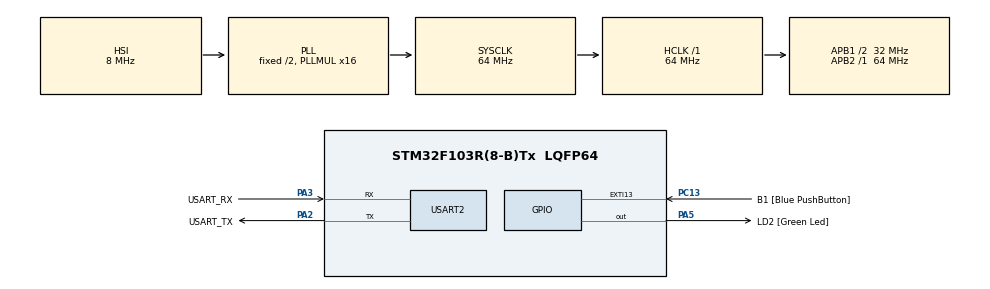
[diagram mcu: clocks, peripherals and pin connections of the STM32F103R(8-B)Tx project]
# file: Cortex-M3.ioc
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Mcu.Family=STM32F1
Mcu.Name=STM32F103R(8-B)Tx
Mcu.Package=LQFP64
NVIC.EXTI15_10_IRQn=true\:0\:0\:false\:false\:true\:true
NVIC.PriorityGroup=NVIC_PRIORITYGROUP_4
NVIC.TIM2_IRQn=true\:0\:0\:false\:false\:true\:true
PA13.GPIO_Label=TMS
PA13.Mode=Serial_Wire
PA13.Signal=SYS_JTMS-SWDIO
PA14.GPIO_Label=TCK
PA14.Mode=Serial_Wire
PA14.Signal=SYS_JTCK-SWCLK
PA2.GPIO_Label=USART_TX
PA2.GPIO_Mode=GPIO_MODE_AF_PP
PA2.GPIO_PuPd=GPIO_NOPULL
PA2.GPIO_Speed=GPIO_SPEED_FREQ_LOW
PA2.Mode=Asynchronous
PA2.Signal=USART2_TX
PA3.GPIO_Label=USART_RX
PA3.GPIO_Mode=GPIO_MODE_AF_PP
PA3.GPIO_PuPd=GPIO_NOPULL
PA3.GPIO_Speed=GPIO_SPEED_FREQ_LOW
PA3.Mode=Asynchronous
PA3.Signal=USART2_RX
PA5.GPIO_Label=LD2 [Green Led]
PA5.GPIO_ModeDefaultOutputPP=GPIO_MODE_OUTPUT_PP
PA5.GPIO_PuPd=GPIO_NOPULL
PA5.GPIO_Speed=GPIO_SPEED_FREQ_LOW
PA5.Signal=GPIO_Output
PB3.GPIO_Label=SWO
PB3.Signal=SYS_JTDO-TRACESWO
PC13-TAMPER-RTC.GPIO_Label=B1 [Blue PushButton]
PC13-TAMPER-RTC.GPIO_PuPd=GPIO_NOPULL
PC13-TAMPER-RTC.Signal=GPXTI13
PC14-OSC32_IN.Mode=LSE-External-Oscillator
PC14-OSC32_IN.Signal=RCC_OSC32_IN
PC15-OSC32_OUT.Mode=LSE-External-Oscillator
PC15-OSC32_OUT.Signal=RCC_OSC32_OUT
PD0-OSC_IN.Mode=HSE-External-Clock-Source
PD0-OSC_IN.Signal=RCC_OSC_IN
PD1-OSC_OUT.Mode=HSE-External-Clock-Source
PD1-OSC_OUT.Signal=RCC_OSC_OUT
ProjectManager.HeapSize=0x200
ProjectManager.StackSize=0x400
ProjectManager.TargetToolchain=TrueSTUDIO
RCC.AHBFreq_Value=64000000
RCC.APB1CLKDivider=RCC_HCLK_DIV2
RCC.APB1Freq_Value=32000000
RCC.APB1TimFreq_Value=64000000
RCC.APB2Freq_Value=64000000
RCC.APB2TimFreq_Value=64000000
RCC.HCLKFreq_Value=64000000
RCC.PLLMUL=RCC_PLL_MUL16
RCC.RTCClockSelection=RCC_RTCCLKSOURCE_LSE
RCC.SYSCLKFreq_VALUE=64000000
RCC.SYSCLKSource=RCC_SYSCLKSOURCE_PLLCLK
RCC.USBFreq_Value=64000000
USART2.VirtualMode=VM_ASYNC
VP_TIM2_VS_ClockSourceINT.Mode=Internal
board=NUCLEO-F103RB

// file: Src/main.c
/**
  ******************************************************************************
  * @file           : main.c
  * @brief          : Main program body
  ******************************************************************************
  ** This notice applies to any and all portions of this file
  * that are not between comment pairs USER CODE BEGIN and
  * USER CODE END. Other portions of this file, whether
  * inserted by the user or by software development tools
  * are owned by their respective copyright owners.
  *
  * COPYRIGHT(c) 2018 STMicroelectronics
  *
  * Redistribution and use in source and binary forms, with or without modification,
  * are permitted provided that the following conditions are met:
  *   1. Redistributions of source code must retain the above copyright notice,
  *      this list of conditions and the following disclaimer.
  *   2. Redistributions in binary form must reproduce the above copyright notice,
  *      this list of conditions and the following disclaimer in the documentation
  *      and/or other materials provided with the distribution.
  *   3. Neither the name of STMicroelectronics nor the names of its contributors
  *      may be used to endorse or promote products derived from this software
  *      without specific prior written permission.
  *
  * THIS SOFTWARE IS PROVIDED BY THE COPYRIGHT HOLDERS AND CONTRIBUTORS "AS IS"
  * AND ANY EXPRESS OR IMPLIED WARRANTIES, INCLUDING, BUT NOT LIMITED TO, THE
  * IMPLIED WARRANTIES OF MERCHANTABILITY AND FITNESS FOR A PARTICULAR PURPOSE ARE
  * DISCLAIMED. IN NO EVENT SHALL THE COPYRIGHT HOLDER OR CONTRIBUTORS BE LIABLE
  * FOR ANY DIRECT, INDIRECT, INCIDENTAL, SPECIAL, EXEMPLARY, OR CONSEQUENTIAL
  * DAMAGES (INCLUDING, BUT NOT LIMITED TO, PROCUREMENT OF SUBSTITUTE GOODS OR
  * SERVICES; LOSS OF USE, DATA, OR PROFITS; OR BUSINESS INTERRUPTION) HOWEVER
  * CAUSED AND ON ANY THEORY OF LIABILITY, WHETHER IN CONTRACT, STRICT LIABILITY,
  * OR TORT (INCLUDING NEGLIGENCE OR OTHERWISE) ARISING IN ANY WAY OUT OF THE USE
  * OF THIS SOFTWARE, EVEN IF ADVISED OF THE POSSIBILITY OF SUCH DAMAGE.
  *
  ******************************************************************************
  */
#include "main.h"
#include "stm32f1xx_hal.h"
#include "tim.h"
#include "usart.h"
#include "gpio.h"

/* USER CODE BEGIN Includes */
#include "arm_math.h"
#include "arm_const_structs.h"

#include <stdarg.h>
#include <string.h>

//#define milvintequatro
#define trintaedois
//#define quinhentosedoze

/* USER CODE END Includes */

/* USER CODE BEGIN PV */
/* Private variables ---------------------------------------------------------*/
int FFT_result; //Amount of FFTs processed on 1s
int FFT_old;
/* USER CODE END PV */

void SystemClock_Config(void);

/* USER CODE BEGIN PFP */
/* Private function prototypes -----------------------------------------------*/

/* USER CODE END PFP */

/* USER CODE BEGIN 0 */
#ifdef milvintequatro
float32_t testInput_f32_10khz[2048] =
{
-0.865129623056441, 	0.000000000000000, 	-2.655020678073846, 	0.000000000000000, 	0.600664612949661, 	0.000000000000000, 	0.080378093886515, 	0.000000000000000,
-2.899160484012034, 	0.000000000000000, 	2.563004262857762, 	0.000000000000000, 	3.078328403304206, 	0.000000000000000, 	0.105906778385130, 	0.000000000000000,
0.048366940168201, 	0.000000000000000, 	-0.145696461188734, 	0.000000000000000, 	-0.023417155362879, 	0.000000000000000, 	2.127729174988954, 	0.000000000000000,
-1.176633086028377, 	0.000000000000000, 	3.690223557991855, 	0.000000000000000, 	-0.622791766173194, 	0.000000000000000, 	0.722837373872203, 	0.000000000000000,
2.739754205367484, 	0.000000000000000, 	-0.062610410524552, 	0.000000000000000, 	-0.891296810967338, 	0.000000000000000, 	-1.845872258871811, 	0.000000000000000,
1.195039415434387, 	0.000000000000000, 	-2.177388969045026, 	0.000000000000000, 	1.078649103637905, 	0.000000000000000, 	2.570976050490193, 	0.000000000000000,
-1.383551403404574, 	0.000000000000000, 	2.392141424058873, 	0.000000000000000, 	2.858002843205065, 	0.000000000000000, 	-3.682433899725536, 	0.000000000000000,
-3.488146646451150, 	0.000000000000000, 	1.323468578888120, 	0.000000000000000, 	-0.099771155430726, 	0.000000000000000, 	1.561168082500454, 	0.000000000000000,
1.025026795103179, 	0.000000000000000, 	0.928841900171200, 	0.000000000000000, 	2.930499509864950, 	0.000000000000000, 	2.013349089766430, 	0.000000000000000,
2.381676148486737, 	0.000000000000000, 	-3.081062307950236, 	0.000000000000000, 	-0.389579115537544, 	0.000000000000000, 	0.181540149166620, 	0.000000000000000,
-2.601953341353208, 	0.000000000000000, 	0.333435137783218, 	0.000000000000000, 	-2.812945856162965, 	0.000000000000000, 	2.649109640172910, 	0.000000000000000,
-1.003963025744654, 	0.000000000000000, 	1.552460768755035, 	0.000000000000000, 	0.088641345335247, 	0.000000000000000, 	-2.519951327113426, 	0.000000000000000,
-4.341348988610527, 	0.000000000000000, 	0.557772429359965, 	0.000000000000000, 	-1.671267412948494, 	0.000000000000000, 	0.733951350960387, 	0.000000000000000,
0.409263788034864, 	0.000000000000000, 	3.566033071952806, 	0.000000000000000, 	1.882565173848352, 	0.000000000000000, 	-1.106017073793287, 	0.000000000000000,
0.154456720778718, 	0.000000000000000, 	-2.513205795512153, 	0.000000000000000, 	0.310978660939421, 	0.000000000000000, 	0.579706500111723, 	0.000000000000000,
0.000086383683251, 	0.000000000000000, 	-1.311866980897721, 	0.000000000000000, 	1.840007477574986, 	0.000000000000000, 	-3.253005768451345, 	0.000000000000000,
1.462584328739432, 	0.000000000000000, 	1.610103610851738, 	0.000000000000000, 	0.761914676858907, 	0.000000000000000, 	0.974541361089834, 	0.000000000000000,
0.686845845885983, 	0.000000000000000, 	1.849153122025191, 	0.000000000000000, 	0.787800410401453, 	0.000000000000000, 	-1.187438909666279, 	0.000000000000000,
-0.754937911044720, 	0.000000000000000, 	0.084373858395232, 	0.000000000000000, 	-2.600269011710521, 	0.000000000000000, 	-0.962982842142644, 	0.000000000000000,
-0.369328108540868, 	0.000000000000000, 	0.810791418361879, 	0.000000000000000, 	3.587016488699641, 	0.000000000000000, 	-0.520776145083723, 	0.000000000000000,
0.640249919627884, 	0.000000000000000, 	1.103122489464969, 	0.000000000000000, 	2.231779881455556, 	0.000000000000000, 	-1.308035392685241, 	0.000000000000000,
0.424070304330106, 	0.000000000000000, 	-0.200383932651189, 	0.000000000000000, 	-2.365526783356541, 	0.000000000000000, 	-0.989114757436628, 	0.000000000000000,
2.770807688959777, 	0.000000000000000, 	-0.444172737462307, 	0.000000000000000, 	0.079760979374078, 	0.000000000000000, 	-0.005199118412183, 	0.000000000000000,
-0.664712668309527, 	0.000000000000000, 	-0.624171857561896, 	0.000000000000000, 	0.537306979007338, 	0.000000000000000, 	-2.575955675497642, 	0.000000000000000,
1.562363235756780, 	0.000000000000000, 	1.814069369848895, 	0.000000000000000, 	-1.293428583392509, 	0.000000000000000, 	-1.026188449495686, 	0.000000000000000,
-2.981771815588717, 	0.000000000000000, 	-4.223468103075124, 	0.000000000000000, 	2.672674782004045, 	0.000000000000000, 	-0.856096801117735, 	0.000000000000000,
0.048517345512563, 	0.000000000000000, 	-0.026860721136222, 	0.000000000000000, 	0.392932277758187, 	0.000000000000000, 	-1.331740855093099, 	0.000000000000000,
-1.894292129477081, 	0.000000000000000, 	-1.425006468460681, 	0.000000000000000, 	-2.721772427617057, 	0.000000000000000, 	-1.616831100216806, 	0.000000000000000,
3.551177651488947, 	0.000000000000000, 	-0.069685667896087, 	0.000000000000000, 	-3.134634907409102, 	0.000000000000000, 	-0.263627598944639, 	0.000000000000000,
-1.650469945991350, 	0.000000000000000, 	-2.203580339374399, 	0.000000000000000, 	-0.872203246123242, 	0.000000000000000, 	1.230782812607287, 	0.000000000000000,
0.257288860093291, 	0.000000000000000, 	1.989083106173137, 	0.000000000000000, 	-1.985638729453261, 	0.000000000000000, 	-1.416185105842892, 	0.000000000000000,
-1.131097688325772, 	0.000000000000000, 	-2.245130805416057, 	0.000000000000000, 	-1.938873996219074, 	0.000000000000000, 	2.043608361562645, 	0.000000000000000,
-0.583727989880841, 	0.000000000000000, 	-1.785266378212929, 	0.000000000000000, 	1.961457586224753, 	0.000000000000000, 	1.139400099963223, 	0.000000000000000,
-1.979519343363991, 	0.000000000000000, 	2.003023322818429, 	0.000000000000000, 	0.229004069076829, 	0.000000000000000, 	3.452808862193135, 	0.000000000000000,
2.882273808365857, 	0.000000000000000, 	-1.549450501844438, 	0.000000000000000, 	-3.283872089931876, 	0.000000000000000, 	-0.327025884099064, 	0.000000000000000,
-0.054979977136430, 	0.000000000000000, 	-1.192280531479012, 	0.000000000000000, 	0.645539328365578, 	0.000000000000000, 	2.300832863404618, 	0.000000000000000,
-1.092951789535240, 	0.000000000000000, 	-1.017368249363773, 	0.000000000000000, 	-0.142673056169787, 	0.000000000000000, 	0.831073544881250, 	0.000000000000000,
-2.314612531587064, 	0.000000000000000, 	-2.221456299106321, 	0.000000000000000, 	0.460261143885226, 	0.000000000000000, 	0.050585301888595, 	0.000000000000000,
0.364373329183988, 	0.000000000000000, 	-1.685956552069538, 	0.000000000000000, 	0.050664512351055, 	0.000000000000000, 	-0.193355783902718, 	0.000000000000000,
-0.158660446046828, 	0.000000000000000, 	2.394156453841953, 	0.000000000000000, 	-1.562965718554525, 	0.000000000000000, 	-2.199750600869900, 	0.000000000000000,
1.544984022381773, 	0.000000000000000, 	-1.988307216807315, 	0.000000000000000, 	-0.628240722541046, 	0.000000000000000, 	-1.436235771505429, 	0.000000000000000,
1.677013691147313, 	0.000000000000000, 	1.600741781678228, 	0.000000000000000, 	-0.757380959134706, 	0.000000000000000, 	-4.784797439515566, 	0.000000000000000,
0.265121462834569, 	0.000000000000000, 	3.862029485934378, 	0.000000000000000, 	2.386823577249430, 	0.000000000000000, 	-3.655779745436893, 	0.000000000000000,
-0.763541621368016, 	0.000000000000000, 	-1.182140388432962, 	0.000000000000000, 	-1.349106114858063, 	0.000000000000000, 	-2.287533624396759, 	0.000000000000000,
-0.028603745188423, 	0.000000000000000, 	-1.353580755934427, 	0.000000000000000, 	0.461602380352937, 	0.000000000000000, 	-0.059599055078928, 	0.000000000000000,
-0.929946734342228, 	0.000000000000000, 	0.065773089295561, 	0.000000000000000, 	1.106565863102982, 	0.000000000000000, 	4.719295086373593, 	0.000000000000000,
-2.108377703544395, 	0.000000000000000, 	-2.226393620240159, 	0.000000000000000, 	1.375668397437521, 	0.000000000000000, 	-0.960772428525443, 	0.000000000000000,
-2.156313465390571, 	0.000000000000000, 	1.126060012375311, 	0.000000000000000, 	2.756485137030720, 	0.000000000000000, 	0.739639690862600, 	0.000000000000000,
3.914769510295006, 	0.000000000000000, 	1.685232785586675, 	0.000000000000000, 	4.079058040970612, 	0.000000000000000, 	-1.174598301660513, 	0.000000000000000,
-2.885776587275580, 	0.000000000000000, 	-0.241073635188767, 	0.000000000000000, 	3.080489872502403, 	0.000000000000000, 	-2.051244183999421, 	0.000000000000000,
0.664330486845139, 	0.000000000000000, 	-1.697798999370016, 	0.000000000000000, 	1.452369423649782, 	0.000000000000000, 	-1.523532831019280, 	0.000000000000000,
0.171981186587481, 	0.000000000000000, 	-4.685274721583927, 	0.000000000000000, 	-1.336175835319380, 	0.000000000000000, 	1.419070770428945, 	0.000000000000000,
-0.035791601713475, 	0.000000000000000, 	2.291937971632081, 	0.000000000000000, 	-1.962559313450293, 	0.000000000000000, 	-4.831595589339301, 	0.000000000000000,
-1.857055284000925, 	0.000000000000000, 	2.606271522635512, 	0.000000000000000, 	-0.576447978738030, 	0.000000000000000, 	0.082299166967720, 	0.000000000000000,
1.888399453494614, 	0.000000000000000, 	-3.564705298046079, 	0.000000000000000, 	-0.939357831083889, 	0.000000000000000, 	-1.903578203697778, 	0.000000000000000,
-2.642492215447250, 	0.000000000000000, 	-0.182990405251017, 	0.000000000000000, 	3.742026478011174, 	0.000000000000000, 	0.104295803798333, 	0.000000000000000,
1.848678195370347, 	0.000000000000000, 	-1.887384346896369, 	0.000000000000000, 	0.365048973046045, 	0.000000000000000, 	-0.889638010354219, 	0.000000000000000,
1.173877118428863, 	0.000000000000000, 	-1.178562827540109, 	0.000000000000000, 	0.610271645685184, 	0.000000000000000, 	1.831284815697871, 	0.000000000000000,
0.449575390102283, 	0.000000000000000, 	1.597171905253443, 	0.000000000000000, 	3.918574971904773, 	0.000000000000000, 	0.868104027970404, 	0.000000000000000,
0.582643134746494, 	0.000000000000000, 	2.321256382353331, 	0.000000000000000, 	-0.238118642223180, 	0.000000000000000, 	-2.890287868054370, 	0.000000000000000,
0.970995414625622, 	0.000000000000000, 	0.666137930891283, 	0.000000000000000, 	-0.202435718709502, 	0.000000000000000, 	2.057930200518194, 	0.000000000000000,
3.120583443719949, 	0.000000000000000, 	-0.863945271701041, 	0.000000000000000, 	0.906848893874630, 	0.000000000000000, 	-1.434124930222570, 	0.000000000000000,
0.754659384848783, 	0.000000000000000, 	-5.224154442713778, 	0.000000000000000, 	2.330229744098967, 	0.000000000000000, 	1.113946320164698, 	0.000000000000000,
0.523324920322840, 	0.000000000000000, 	1.750740911548348, 	0.000000000000000, 	-0.899333972913577, 	0.000000000000000, 	0.228705845203506, 	0.000000000000000,
-1.934782624767648, 	0.000000000000000, 	-3.508386237231303, 	0.000000000000000, 	-2.107108523073510, 	0.000000000000000, 	0.380587645474815, 	0.000000000000000,
-0.476200877183279, 	0.000000000000000, 	-2.172086712642198, 	0.000000000000000, 	1.795372535780299, 	0.000000000000000, 	-2.100318983391055, 	0.000000000000000,
-0.022571122461405, 	0.000000000000000, 	0.674514020010955, 	0.000000000000000, 	-0.148872569390857, 	0.000000000000000, 	0.298175890592737, 	0.000000000000000,
-1.134244492493590, 	0.000000000000000, 	-3.146848422289455, 	0.000000000000000, 	-1.357950199087602, 	0.000000000000000, 	0.667362732020878, 	0.000000000000000,
-3.119397998316724, 	0.000000000000000, 	-1.189341126297637, 	0.000000000000000, 	-1.532744386856668, 	0.000000000000000, 	-1.672972484202534, 	0.000000000000000,
-2.042283373871558, 	0.000000000000000, 	-1.479481547595924, 	0.000000000000000, 	-0.002668662875396, 	0.000000000000000, 	0.262737760129546, 	0.000000000000000,
2.734456080621830, 	0.000000000000000, 	-0.671945925075102, 	0.000000000000000, 	-3.735078262179111, 	0.000000000000000, 	-0.161705013319883, 	0.000000000000000,
0.748963512361001, 	0.000000000000000, 	1.128046374367600, 	0.000000000000000, 	0.649651335592966, 	0.000000000000000, 	1.880020215025867, 	0.000000000000000,
-1.095632293842306, 	0.000000000000000, 	1.197764876160487, 	0.000000000000000, 	0.323646656252985, 	0.000000000000000, 	-1.655502751114502, 	0.000000000000000,
3.666399062961496, 	0.000000000000000, 	-0.334060899735197, 	0.000000000000000, 	-2.119056978738397, 	0.000000000000000, 	3.721375117275012, 	0.000000000000000,
0.044874186872307, 	0.000000000000000, 	-2.733053897593234, 	0.000000000000000, 	1.590700278891042, 	0.000000000000000, 	3.215711772781902, 	0.000000000000000,
-1.792085012843801, 	0.000000000000000, 	-0.405797188885475, 	0.000000000000000, 	-0.628080020080892, 	0.000000000000000, 	-1.831815840843960, 	0.000000000000000,
2.973656862522834, 	0.000000000000000, 	-0.212032655138417, 	0.000000000000000, 	0.372437389437234, 	0.000000000000000, 	-1.614030579023492, 	0.000000000000000,
-0.704900996358698, 	0.000000000000000, 	1.123700273452105, 	0.000000000000000, 	-0.136371848130819, 	0.000000000000000, 	3.020284357635585, 	0.000000000000000,
-0.550211350877649, 	0.000000000000000, 	5.101256236381711, 	0.000000000000000, 	3.367051512192333, 	0.000000000000000, 	-4.385131946669234, 	0.000000000000000,
-3.967303337694391, 	0.000000000000000, 	-0.965894936640022, 	0.000000000000000, 	0.328366945264681, 	0.000000000000000, 	0.199041562924914, 	0.000000000000000,
1.067681999025495, 	0.000000000000000, 	-1.939516091697170, 	0.000000000000000, 	-1.092980954328824, 	0.000000000000000, 	0.273786079368066, 	0.000000000000000,
-0.040928322190265, 	0.000000000000000, 	-0.118368078577437, 	0.000000000000000, 	1.766589628899997, 	0.000000000000000, 	1.738321311635393, 	0.000000000000000,
-2.895012794321649, 	0.000000000000000, 	1.213521771395142, 	0.000000000000000, 	0.922971726633985, 	0.000000000000000, 	1.091516563636489, 	0.000000000000000,
3.226378465469620, 	0.000000000000000, 	1.149169778666974, 	0.000000000000000, 	-1.695986327709386, 	0.000000000000000, 	-0.974803077355813, 	0.000000000000000,
-4.898035507513607, 	0.000000000000000, 	1.622719302889447, 	0.000000000000000, 	0.583891313586579, 	0.000000000000000, 	-1.677182424094957, 	0.000000000000000,
-1.915633132814685, 	0.000000000000000, 	-1.980150370851616, 	0.000000000000000, 	0.604538269404190, 	0.000000000000000, 	0.939862406149365, 	0.000000000000000,
-1.266939874246416, 	0.000000000000000, 	-1.494771249200063, 	0.000000000000000, 	0.278042784093988, 	0.000000000000000, 	0.326627416008916, 	0.000000000000000,
-1.914530157643303, 	0.000000000000000, 	1.908947721862196, 	0.000000000000000, 	0.531819285694044, 	0.000000000000000, 	3.056856632319658, 	0.000000000000000,
-0.389241827774643, 	0.000000000000000, 	-2.418606606780420, 	0.000000000000000, 	0.915299238878703, 	0.000000000000000, 	-0.098774174295283, 	0.000000000000000,
-0.906199428444304, 	0.000000000000000, 	0.316716451217743, 	0.000000000000000, 	-4.367700643578311, 	0.000000000000000, 	1.491687997515293, 	0.000000000000000,
-1.962381126288365, 	0.000000000000000, 	-0.700829196527045, 	0.000000000000000, 	3.028958963615630, 	0.000000000000000, 	-2.313461067462598, 	0.000000000000000,
-1.431933239886712, 	0.000000000000000, 	-0.831153039725342, 	0.000000000000000, 	3.939495598250743, 	0.000000000000000, 	0.342974753984771, 	0.000000000000000,
-2.768330763002974, 	0.000000000000000, 	-2.744010370019008, 	0.000000000000000, 	3.821352685212561, 	0.000000000000000, 	4.551065271455856, 	0.000000000000000,
3.270136437041298, 	0.000000000000000, 	-3.188028411950982, 	0.000000000000000, 	-0.777075012417436, 	0.000000000000000, 	0.097110650265216, 	0.000000000000000,
1.221216137608812, 	0.000000000000000, 	-1.325824244541822, 	0.000000000000000, 	-2.655296734084113, 	0.000000000000000, 	-1.074792144885704, 	0.000000000000000,
2.770401584439407, 	0.000000000000000, 	5.240270645610543, 	0.000000000000000, 	0.108576672208892, 	0.000000000000000, 	-1.209394350650142, 	0.000000000000000,
1.403344353838785, 	0.000000000000000, 	-0.299032904177277, 	0.000000000000000, 	4.074959450638227, 	0.000000000000000, 	1.718727473952107, 	0.000000000000000,
-3.061349227080806, 	0.000000000000000, 	-1.158596888541269, 	0.000000000000000, 	3.381858904662625, 	0.000000000000000, 	0.957339964054052, 	0.000000000000000,
0.179900074904899, 	0.000000000000000, 	-3.909641902506081, 	0.000000000000000, 	0.805717289408649, 	0.000000000000000, 	2.047413793928261, 	0.000000000000000,
-1.273580225826614, 	0.000000000000000, 	-2.681359186869971, 	0.000000000000000, 	-0.721241345822093, 	0.000000000000000, 	-1.613090681569475, 	0.000000000000000,
0.463138804815955, 	0.000000000000000, 	0.377223507800954, 	0.000000000000000, 	2.046550684968141, 	0.000000000000000, 	0.178508732797712, 	0.000000000000000,
-0.477815330358845, 	0.000000000000000, 	3.763355908332053, 	0.000000000000000, 	1.300430303035163, 	0.000000000000000, 	-0.214625793857725, 	0.000000000000000,
1.343267891864081, 	0.000000000000000, 	-0.340007682433245, 	0.000000000000000, 	2.062703194680005, 	0.000000000000000, 	0.042032160234235, 	0.000000000000000,
0.643732569732250, 	0.000000000000000, 	-1.913502543857589, 	0.000000000000000, 	3.771340762937158, 	0.000000000000000, 	1.050024807363386, 	0.000000000000000,
-4.440489488592649, 	0.000000000000000, 	0.444904302066643, 	0.000000000000000, 	2.898702265650048, 	0.000000000000000, 	1.953232980548558, 	0.000000000000000,
2.761564952735079, 	0.000000000000000, 	1.963537633260397, 	0.000000000000000, 	-2.168858472916215, 	0.000000000000000, 	-4.116235357699841, 	0.000000000000000,
4.183678271896528, 	0.000000000000000, 	0.600422284944681, 	0.000000000000000, 	-0.659352647255126, 	0.000000000000000, 	-0.993127338218109, 	0.000000000000000,
-2.463571314945747, 	0.000000000000000, 	0.937720951545881, 	0.000000000000000, 	-3.098957308429730, 	0.000000000000000, 	-2.354719140045463, 	0.000000000000000,
-0.417285119323949, 	0.000000000000000, 	2.187974075975947, 	0.000000000000000, 	1.101468905172585, 	0.000000000000000, 	-3.185800678152109, 	0.000000000000000,
2.357534709345083, 	0.000000000000000, 	0.246645606729407, 	0.000000000000000, 	4.440905650784504, 	0.000000000000000, 	-2.236807716637866, 	0.000000000000000,
-2.171481518317550, 	0.000000000000000, 	-2.029571795072690, 	0.000000000000000, 	0.135599790431348, 	0.000000000000000, 	-1.277965265520191, 	0.000000000000000,
-1.927976233157507, 	0.000000000000000, 	-5.434492783745394, 	0.000000000000000, 	-2.026375829312657, 	0.000000000000000, 	1.009666016819321, 	0.000000000000000,
0.238549782367247, 	0.000000000000000, 	-0.516403923971309, 	0.000000000000000, 	-0.933977817429352, 	0.000000000000000, 	0.155803015935614, 	0.000000000000000,
-0.396194809997929, 	0.000000000000000, 	-0.915178100253214, 	0.000000000000000, 	0.666329367985015, 	0.000000000000000, 	-1.517991149945785, 	0.000000000000000,
0.458266744144822, 	0.000000000000000, 	-1.242845974381418, 	0.000000000000000, 	0.057914823556477, 	0.000000000000000, 	0.994101307476875, 	0.000000000000000,
-2.387209849199325, 	0.000000000000000, 	0.459297048883826, 	0.000000000000000, 	0.227711405683905, 	0.000000000000000, 	0.030255073506117, 	0.000000000000000,
-1.323361608181337, 	0.000000000000000, 	-4.650244457426706, 	0.000000000000000, 	0.062908579526021, 	0.000000000000000, 	3.462831028244432, 	0.000000000000000,
1.303608183314856, 	0.000000000000000, 	-1.430415193881612, 	0.000000000000000, 	-1.672886118942142, 	0.000000000000000, 	0.992890699210099, 	0.000000000000000,
-0.160814531784247, 	0.000000000000000, 	-1.238132939350430, 	0.000000000000000, 	-0.589223271459376, 	0.000000000000000, 	2.326363810561534, 	0.000000000000000,
-4.433789496230785, 	0.000000000000000, 	1.664686987538929, 	0.000000000000000, 	-2.366128834617921, 	0.000000000000000, 	1.212421570743837, 	0.000000000000000,
-4.847914267690055, 	0.000000000000000, 	0.228485221404712, 	0.000000000000000, 	0.466139765470957, 	0.000000000000000, 	-1.344202776943546, 	0.000000000000000,
-1.012053673330574, 	0.000000000000000, 	-2.844980626424742, 	0.000000000000000, 	-1.552703722026340, 	0.000000000000000, 	-1.448830983885038, 	0.000000000000000,
0.127010756753980, 	0.000000000000000, 	-1.667188263752299, 	0.000000000000000, 	3.424818052085100, 	0.000000000000000, 	0.956291135453840, 	0.000000000000000,
-3.725533331754662, 	0.000000000000000, 	-1.584534272368832, 	0.000000000000000, 	-1.654148210472472, 	0.000000000000000, 	0.701610500675698, 	0.000000000000000,
0.164954538683927, 	0.000000000000000, 	-0.739260064712987, 	0.000000000000000, 	-2.167324026090101, 	0.000000000000000, 	-0.310240491909496, 	0.000000000000000,
-2.281790349106906, 	0.000000000000000, 	1.719655331305361, 	0.000000000000000, 	-2.997005923606441, 	0.000000000000000, 	-1.999301431556852, 	0.000000000000000,
-0.292229010068828, 	0.000000000000000, 	1.172317994855851, 	0.000000000000000, 	0.196734885241533, 	0.000000000000000, 	2.981365193477068, 	0.000000000000000,
2.637726016926352, 	0.000000000000000, 	1.434045125217982, 	0.000000000000000, 	0.883627180451827, 	0.000000000000000, 	-1.434040761445747, 	0.000000000000000,
-1.528891971086553, 	0.000000000000000, 	-3.306913135367542, 	0.000000000000000, 	-0.399059265470646, 	0.000000000000000, 	-0.265674394285178, 	0.000000000000000,
3.502591252855384, 	0.000000000000000, 	0.830301156604454, 	0.000000000000000, 	-0.220021317046083, 	0.000000000000000, 	-0.090553770476646, 	0.000000000000000,
0.771863477047951, 	0.000000000000000, 	1.351209629105760, 	0.000000000000000, 	3.773699756201963, 	0.000000000000000, 	0.472600118752329, 	0.000000000000000,
2.332825668012222, 	0.000000000000000, 	1.853747950314528, 	0.000000000000000, 	0.759515251766178, 	0.000000000000000, 	1.327112776215496, 	0.000000000000000,
2.518730296237868, 	0.000000000000000, 	0.764450208786353, 	0.000000000000000, 	-0.278275349491296, 	0.000000000000000, 	-0.041559465082020, 	0.000000000000000,
1.387166083167787, 	0.000000000000000, 	2.612996769598122, 	0.000000000000000, 	-0.385404831721799, 	0.000000000000000, 	2.005630016170309, 	0.000000000000000,
-0.950500047307998, 	0.000000000000000, 	-1.166884021392492, 	0.000000000000000, 	1.432973552928162, 	0.000000000000000, 	2.540370505384567, 	0.000000000000000,
-1.140505295054501, 	0.000000000000000, 	-3.673358835201185, 	0.000000000000000, 	-0.450691288038056, 	0.000000000000000, 	1.601024294408014, 	0.000000000000000,
0.773213556014045, 	0.000000000000000, 	2.973873693246168, 	0.000000000000000, 	-1.361548406382279, 	0.000000000000000, 	1.409136332424815, 	0.000000000000000,
-0.963382518314713, 	0.000000000000000, 	-2.031268227368161, 	0.000000000000000, 	0.983309972085586, 	0.000000000000000, 	-3.461412488471631, 	0.000000000000000,
-2.601124929406039, 	0.000000000000000, 	-0.533896239766343, 	0.000000000000000, 	-2.627129008866350, 	0.000000000000000, 	0.622111169161305, 	0.000000000000000,
-1.160926365580422, 	0.000000000000000, 	-2.406196188132628, 	0.000000000000000, 	-1.076870362758737, 	0.000000000000000, 	-1.791866820937175, 	0.000000000000000,
-0.749453071522325, 	0.000000000000000, 	-5.324156615990973, 	0.000000000000000, 	-1.038698022238289, 	0.000000000000000, 	-2.106629944730630, 	0.000000000000000,
0.659295598564773, 	0.000000000000000, 	0.520940881580988, 	0.000000000000000, 	-0.055649203928700, 	0.000000000000000, 	0.292096765423137, 	0.000000000000000,
-4.663743901790872, 	0.000000000000000, 	-0.125066503391666, 	0.000000000000000, 	-2.452620252445380, 	0.000000000000000, 	-0.712128227397468, 	0.000000000000000,
-0.048938037970968, 	0.000000000000000, 	-1.821520226003361, 	0.000000000000000, 	0.810106421304257, 	0.000000000000000, 	-0.196636623956257, 	0.000000000000000,
-0.701769836763804, 	0.000000000000000, 	2.460345045649201, 	0.000000000000000, 	3.506597671641116, 	0.000000000000000, 	-2.711322611972225, 	0.000000000000000,
-0.658079876600542, 	0.000000000000000, 	-2.040082099646173, 	0.000000000000000, 	2.201668355395807, 	0.000000000000000, 	1.181507395879711, 	0.000000000000000,
-1.640739552179682, 	0.000000000000000, 	-1.613393726467190, 	0.000000000000000, 	-1.156741241731352, 	0.000000000000000, 	2.527773464519963, 	0.000000000000000,
-0.497040638009502, 	0.000000000000000, 	-0.975817112895589, 	0.000000000000000, 	-2.866830755546166, 	0.000000000000000, 	1.120214498507878, 	0.000000000000000,
5.986771654661698, 	0.000000000000000, 	0.398219252656757, 	0.000000000000000, 	-3.545606013198135, 	0.000000000000000, 	0.312398099396191, 	0.000000000000000,
-2.265327979531788, 	0.000000000000000, 	0.792121001107366, 	0.000000000000000, 	-3.736145137670100, 	0.000000000000000, 	0.762228883650802, 	0.000000000000000,
2.283545661214646, 	0.000000000000000, 	3.780020629583529, 	0.000000000000000, 	3.117260228608810, 	0.000000000000000, 	-2.011159255609613, 	0.000000000000000,
0.279107700476072, 	0.000000000000000, 	2.003369134246936, 	0.000000000000000, 	-1.448171234480257, 	0.000000000000000, 	0.584697150310140, 	0.000000000000000,
0.919508663636197, 	0.000000000000000, 	-3.071349141675388, 	0.000000000000000, 	-1.555923649263667, 	0.000000000000000, 	2.232497079438850, 	0.000000000000000,
-0.012662139119883, 	0.000000000000000, 	0.372825540734715, 	0.000000000000000, 	2.378543590847629, 	0.000000000000000, 	1.459053407813062, 	0.000000000000000,
-0.967913907390927, 	0.000000000000000, 	1.322825200678212, 	0.000000000000000, 	-1.033775820061824, 	0.000000000000000, 	-1.813629552693142, 	0.000000000000000,
4.794348161661486, 	0.000000000000000, 	0.655279811518676, 	0.000000000000000, 	-2.224590138589720, 	0.000000000000000, 	0.595329481295766, 	0.000000000000000,
3.364055988866225, 	0.000000000000000, 	1.863416422998127, 	0.000000000000000, 	1.930305751828105, 	0.000000000000000, 	-0.284467053432545, 	0.000000000000000,
-0.923374905878938, 	0.000000000000000, 	1.922988234041399, 	0.000000000000000, 	0.310482143432719, 	0.000000000000000, 	0.332122302397134, 	0.000000000000000,
-1.659487472408966, 	0.000000000000000, 	-1.865943507877961, 	0.000000000000000, 	-0.186775297569864, 	0.000000000000000, 	-1.700543850628361, 	0.000000000000000,
0.497157959366735, 	0.000000000000000, 	-0.471244843957418, 	0.000000000000000, 	-0.432013753969948, 	0.000000000000000, 	-4.000189880113231, 	0.000000000000000,
-0.415335170016467, 	0.000000000000000, 	0.317311950972859, 	0.000000000000000, 	0.038393428927595, 	0.000000000000000, 	0.177219909465206, 	0.000000000000000,
0.531650958095143, 	0.000000000000000, 	-2.711644985175806, 	0.000000000000000, 	0.328744077805156, 	0.000000000000000, 	-0.938417707547928, 	0.000000000000000,
0.970379584897379, 	0.000000000000000, 	1.873649473917137, 	0.000000000000000, 	0.177938226987023, 	0.000000000000000, 	0.155609346302393, 	0.000000000000000,
-1.276504241867208, 	0.000000000000000, 	-0.463725075928807, 	0.000000000000000, 	-0.064748250389500, 	0.000000000000000, 	-1.725568534062385, 	0.000000000000000,
-0.139066584804067, 	0.000000000000000, 	1.975514554117767, 	0.000000000000000, 	-0.807063199499478, 	0.000000000000000, 	-0.326926659682788, 	0.000000000000000,
1.445727032487938, 	0.000000000000000, 	-0.597151107739100, 	0.000000000000000, 	2.732557531709386, 	0.000000000000000, 	-2.907130934109188, 	0.000000000000000,
-1.461264832679981, 	0.000000000000000, 	-1.708588604968163, 	0.000000000000000, 	3.652851925431363, 	0.000000000000000, 	0.682050868282879, 	0.000000000000000,
-0.281312579963294, 	0.000000000000000, 	0.554966483307825, 	0.000000000000000, 	-0.981341739340932, 	0.000000000000000, 	1.279543331141603, 	0.000000000000000,
0.036589747826856, 	0.000000000000000, 	2.312073745896073, 	0.000000000000000, 	1.754682200732425, 	0.000000000000000, 	-0.957515875428627, 	0.000000000000000,
-0.833596942819695, 	0.000000000000000, 	0.437054368791033, 	0.000000000000000, 	-0.898819399360279, 	0.000000000000000, 	-0.296050580896839, 	0.000000000000000,
-0.785144257649601, 	0.000000000000000, 	-2.541503089003311, 	0.000000000000000, 	2.225075846758761, 	0.000000000000000, 	-1.587290487902002, 	0.000000000000000,
-1.421404172056462, 	0.000000000000000, 	-3.015149802293631, 	0.000000000000000, 	1.780874288867949, 	0.000000000000000, 	-0.865812740882613, 	0.000000000000000,
-2.845327531197112, 	0.000000000000000, 	1.445225867774367, 	0.000000000000000, 	2.183733236584647, 	0.000000000000000, 	1.163371072749080, 	0.000000000000000,
0.883547693520409, 	0.000000000000000, 	-1.224093106684675, 	0.000000000000000, 	-1.854501116331044, 	0.000000000000000, 	1.783082089255796, 	0.000000000000000,
2.301508706196191, 	0.000000000000000, 	-0.539901944139077, 	0.000000000000000, 	1.962315832319967, 	0.000000000000000, 	-0.060709041870503, 	0.000000000000000,
-1.353139923300238, 	0.000000000000000, 	-1.482887537805234, 	0.000000000000000, 	1.273732601967176, 	0.000000000000000, 	-3.456609915556321, 	0.000000000000000,
-3.752320586540873, 	0.000000000000000, 	3.536356614978951, 	0.000000000000000, 	0.206035952043233, 	0.000000000000000, 	5.933966913773842, 	0.000000000000000,
-0.486633898075490, 	0.000000000000000, 	-0.329595089863342, 	0.000000000000000, 	1.496414153905337, 	0.000000000000000, 	0.137868749388880, 	0.000000000000000,
-0.437192030996792, 	0.000000000000000, 	2.682750615210656, 	0.000000000000000, 	-2.440234892848570, 	0.000000000000000, 	1.433910252426186, 	0.000000000000000,
-0.415051506104074, 	0.000000000000000, 	1.982003013708649, 	0.000000000000000, 	1.345796609972435, 	0.000000000000000, 	-2.335949513404370, 	0.000000000000000,
1.065988867433025, 	0.000000000000000, 	2.741844905000464, 	0.000000000000000, 	-1.754047930934362, 	0.000000000000000, 	0.229252730015575, 	0.000000000000000,
-0.679791016408669, 	0.000000000000000, 	-2.274097820043743, 	0.000000000000000, 	0.149802252231876, 	0.000000000000000, 	-0.139697151364830, 	0.000000000000000,
-2.773367420505435, 	0.000000000000000, 	-4.403400246165611, 	0.000000000000000, 	-1.468974515184135, 	0.000000000000000, 	0.664990623095844, 	0.000000000000000,
-3.446979775557143, 	0.000000000000000, 	1.850006428987618, 	0.000000000000000, 	-1.550866747921936, 	0.000000000000000, 	-3.632874882935257, 	0.000000000000000,
0.828039662992464, 	0.000000000000000, 	2.794055182632816, 	0.000000000000000, 	-0.593995716682633, 	0.000000000000000, 	0.142788156054200, 	0.000000000000000,
0.552461945119668, 	0.000000000000000, 	0.842127129738758, 	0.000000000000000, 	1.414335509600077, 	0.000000000000000, 	-0.311559241382430, 	0.000000000000000,
1.510590844695250, 	0.000000000000000, 	1.692217183824300, 	0.000000000000000, 	0.613760285711957, 	0.000000000000000, 	0.065233463207770, 	0.000000000000000,
-2.571912893711505, 	0.000000000000000, 	-1.707001531141341, 	0.000000000000000, 	0.673884968382041, 	0.000000000000000, 	0.889863883420103, 	0.000000000000000,
-2.395635435233346, 	0.000000000000000, 	1.129247296359819, 	0.000000000000000, 	0.569074704779735, 	0.000000000000000, 	6.139436017480722, 	0.000000000000000,
0.822158309259017, 	0.000000000000000, 	-3.289872016222589, 	0.000000000000000, 	0.417612988384414, 	0.000000000000000, 	1.493982103868165, 	0.000000000000000,
-0.415353391377005, 	0.000000000000000, 	0.288670764933155, 	0.000000000000000, 	-1.895650228872272, 	0.000000000000000, 	-0.139631694475020, 	0.000000000000000,
1.445103299005436, 	0.000000000000000, 	2.877182243683429, 	0.000000000000000, 	1.192428490172580, 	0.000000000000000, 	-5.964591921763842, 	0.000000000000000,
0.570859795882959, 	0.000000000000000, 	2.328333316356666, 	0.000000000000000, 	0.333755014930026, 	0.000000000000000, 	1.221901577771909, 	0.000000000000000,
0.943358697415568, 	0.000000000000000, 	2.793063983613067, 	0.000000000000000, 	3.163005066073616, 	0.000000000000000, 	2.098300664513867, 	0.000000000000000,
-3.915313164333447, 	0.000000000000000, 	-2.475766769064539, 	0.000000000000000, 	1.720472044894277, 	0.000000000000000, 	-1.273591949275665, 	0.000000000000000,
-1.213451272938616, 	0.000000000000000, 	0.697439404325690, 	0.000000000000000, 	-0.309902287574293, 	0.000000000000000, 	2.622575852162781, 	0.000000000000000,
-2.075881936219060, 	0.000000000000000, 	0.777847545691770, 	0.000000000000000, 	-3.967947986440650, 	0.000000000000000, 	-3.066503371806472, 	0.000000000000000,
1.193780625937845, 	0.000000000000000, 	0.214246579281311, 	0.000000000000000, 	-2.610681491162162, 	0.000000000000000, 	-1.261224183972745, 	0.000000000000000,
-1.165071748544285, 	0.000000000000000, 	-1.116548474834374, 	0.000000000000000, 	0.847202164846982, 	0.000000000000000, 	-3.474301529532390, 	0.000000000000000,
0.020799541946476, 	0.000000000000000, 	-3.868995473288166, 	0.000000000000000, 	1.757979409638067, 	0.000000000000000, 	0.868115130183109, 	0.000000000000000,
0.910167436737958, 	0.000000000000000, 	-1.878855115563720, 	0.000000000000000, 	1.710357104174161, 	0.000000000000000, 	-1.468933980990902, 	0.000000000000000,
1.799544171601169, 	0.000000000000000, 	-4.922332880027887, 	0.000000000000000, 	0.219424548939720, 	0.000000000000000, 	-0.971671113451924, 	0.000000000000000,
-0.940533475616266, 	0.000000000000000, 	0.122510114412152, 	0.000000000000000, 	-1.373686254916911, 	0.000000000000000, 	1.760348103896323, 	0.000000000000000,
0.391745067829643, 	0.000000000000000, 	2.521958505327354, 	0.000000000000000, 	-1.300693516405092, 	0.000000000000000, 	-0.538251788309178, 	0.000000000000000,
0.797184135810173, 	0.000000000000000, 	2.908800548982588, 	0.000000000000000, 	1.590902251655215, 	0.000000000000000, 	-1.070323714487264, 	0.000000000000000,
-3.349764443340999, 	0.000000000000000, 	-1.190563529731447, 	0.000000000000000, 	1.363369471291963, 	0.000000000000000, 	-1.814270299924576, 	0.000000000000000,
-0.023381588315711, 	0.000000000000000, 	1.719182048679569, 	0.000000000000000, 	0.839917213252626, 	0.000000000000000, 	1.006099633839122, 	0.000000000000000,
0.812462674381527, 	0.000000000000000, 	1.755814336346739, 	0.000000000000000, 	2.546848681206319, 	0.000000000000000, 	-1.555300208869455, 	0.000000000000000,
1.017053811631167, 	0.000000000000000, 	0.996591039170903, 	0.000000000000000, 	-1.228047247924881, 	0.000000000000000, 	4.809462271463009, 	0.000000000000000,
2.318113116151685, 	0.000000000000000, 	-1.206932520679733, 	0.000000000000000, 	1.273757685623312, 	0.000000000000000, 	0.724335352481802, 	0.000000000000000,
1.519876652073198, 	0.000000000000000, 	-2.749670314714158, 	0.000000000000000, 	3.424042481847581, 	0.000000000000000, 	-3.714668360421517, 	0.000000000000000,
1.612834197004014, 	0.000000000000000, 	-2.038234723985566, 	0.000000000000000, 	1.470938786562152, 	0.000000000000000, 	2.111634918450302, 	0.000000000000000,
1.030376670151787, 	0.000000000000000, 	-0.420877189003829, 	0.000000000000000, 	-1.502024800532894, 	0.000000000000000, 	0.452310749163804, 	0.000000000000000,
-1.606059382300987, 	0.000000000000000, 	-4.006159967834147, 	0.000000000000000, 	-2.152801208196508, 	0.000000000000000, 	1.671674089372579, 	0.000000000000000,
1.714536333564101, 	0.000000000000000, 	-1.011518543005344, 	0.000000000000000, 	-0.576410282180584, 	0.000000000000000, 	0.733689809480836, 	0.000000000000000,
1.004245602717974, 	0.000000000000000, 	1.010090391888449, 	0.000000000000000, 	3.811459513385621, 	0.000000000000000, 	-5.230621089271954, 	0.000000000000000,
0.678044861034399, 	0.000000000000000, 	1.255935859598107, 	0.000000000000000, 	1.674521701615288, 	0.000000000000000, 	-1.656695216761705, 	0.000000000000000,
1.169286028869693, 	0.000000000000000, 	0.524915416191998, 	0.000000000000000, 	2.397642885039520, 	0.000000000000000, 	2.108711400616072, 	0.000000000000000,
2.037618211018084, 	0.000000000000000, 	-0.623664553406925, 	0.000000000000000, 	2.984106170984409, 	0.000000000000000, 	1.132182737400932, 	0.000000000000000,
-2.859274340352130, 	0.000000000000000, 	-0.975550071398723, 	0.000000000000000, 	-1.359935119997407, 	0.000000000000000, 	-2.963308211050121, 	0.000000000000000,
-0.228726662781163, 	0.000000000000000, 	-1.411110379682043, 	0.000000000000000, 	0.741553355734225, 	0.000000000000000, 	0.497554254758309, 	0.000000000000000,
2.371907950598855, 	0.000000000000000, 	1.063465168988748, 	0.000000000000000, 	-0.641082692081488, 	0.000000000000000, 	-0.855439878540726, 	0.000000000000000,
0.578321738578726, 	0.000000000000000, 	3.005809768796194, 	0.000000000000000, 	1.961458699064065, 	0.000000000000000, 	-3.206261663772745, 	0.000000000000000,
-0.364431989095434, 	0.000000000000000, 	-0.263182496622273, 	0.000000000000000, 	1.843464680631139, 	0.000000000000000, 	-0.419107530229249, 	0.000000000000000,
1.662335873298487, 	0.000000000000000, 	-0.853687563304005, 	0.000000000000000, 	-2.584133404357169, 	0.000000000000000, 	3.466839568922895, 	0.000000000000000,
0.881671345091973, 	0.000000000000000, 	0.454620014206908, 	0.000000000000000, 	-1.737245187402739, 	0.000000000000000, 	2.162713238369243, 	0.000000000000000,
-3.868539002714486, 	0.000000000000000, 	2.014114855933826, 	0.000000000000000, 	-0.703233831811006, 	0.000000000000000, 	-3.410319935997574, 	0.000000000000000,
-1.851235811006584, 	0.000000000000000, 	0.909783907894036, 	0.000000000000000, 	0.091884002136728, 	0.000000000000000, 	-2.688294201131650, 	0.000000000000000,
-0.906134178460955, 	0.000000000000000, 	3.475054609035133, 	0.000000000000000, 	-0.573927964170323, 	0.000000000000000, 	-0.429542937515399, 	0.000000000000000,
0.991348618739939, 	0.000000000000000, 	1.974804904926325, 	0.000000000000000, 	0.975783450796698, 	0.000000000000000, 	-3.057119549071503, 	0.000000000000000,
-3.899429237481194, 	0.000000000000000, 	0.362439009175350, 	0.000000000000000, 	-1.124461670265618, 	0.000000000000000, 	1.806000360163583, 	0.000000000000000,
-2.768333362600288, 	0.000000000000000, 	0.244387897900379, 	0.000000000000000, 	0.908767296720926, 	0.000000000000000, 	1.254669374391882, 	0.000000000000000,
-1.420441929463686, 	0.000000000000000, 	-0.875658895966293, 	0.000000000000000, 	0.183824603376167, 	0.000000000000000, 	-3.361653917011686, 	0.000000000000000,
-0.796615630227952, 	0.000000000000000, 	-1.660226542658673, 	0.000000000000000, 	1.654439358307226, 	0.000000000000000, 	2.782812946709771, 	0.000000000000000,
1.418064412811531, 	0.000000000000000, 	-0.819645647243761, 	0.000000000000000, 	0.807724772592699, 	0.000000000000000, 	-0.941967976379298, 	0.000000000000000,
-2.312768306047469, 	0.000000000000000, 	0.872426936477443, 	0.000000000000000, 	0.919528961530845, 	0.000000000000000, 	-2.084904575264847, 	0.000000000000000,
-1.972464868459322, 	0.000000000000000, 	-1.050687203338466, 	0.000000000000000, 	1.659579707007902, 	0.000000000000000, 	-1.820640014705855, 	0.000000000000000,
-1.195078061671045, 	0.000000000000000, 	-1.639773173762048, 	0.000000000000000, 	1.616744338157063, 	0.000000000000000, 	4.019216096811563, 	0.000000000000000,
3.461021102549681, 	0.000000000000000, 	1.642352734361484, 	0.000000000000000, 	-0.046354693720813, 	0.000000000000000, 	-0.041936252359677, 	0.000000000000000,
-2.393307519480551, 	0.000000000000000, 	-0.341471634615121, 	0.000000000000000, 	-0.392073595257017, 	0.000000000000000, 	-0.219299018372730, 	0.000000000000000,
-2.016391579662071, 	0.000000000000000, 	-0.653096251969787, 	0.000000000000000, 	1.466353155666821, 	0.000000000000000, 	-2.872058864320412, 	0.000000000000000,
-2.157180779503830, 	0.000000000000000, 	0.723257479841560, 	0.000000000000000, 	3.769951308104384, 	0.000000000000000, 	-1.923392042420024, 	0.000000000000000,
0.644899359942840, 	0.000000000000000, 	-2.090226891621437, 	0.000000000000000, 	-0.277043982890403, 	0.000000000000000, 	-0.528271428321112, 	0.000000000000000,
2.518120645960652, 	0.000000000000000, 	1.040820431111488, 	0.000000000000000, 	-4.560583754742486, 	0.000000000000000, 	-0.226899614918836, 	0.000000000000000,
1.713331231108959, 	0.000000000000000, 	-3.293941019163642, 	0.000000000000000, 	-1.113331444648290, 	0.000000000000000, 	-1.032308423149906, 	0.000000000000000,
1.593774272982443, 	0.000000000000000, 	-1.246840475090529, 	0.000000000000000, 	-0.190344684920137, 	0.000000000000000, 	-1.719386356896355, 	0.000000000000000,
-2.827721754659679, 	0.000000000000000, 	-0.092438285279020, 	0.000000000000000, 	-0.565844430675246, 	0.000000000000000, 	-1.077916121691716, 	0.000000000000000,
-1.208665809504693, 	0.000000000000000, 	-2.996014266381254, 	0.000000000000000, 	2.888573323402423, 	0.000000000000000, 	2.829507048720695, 	0.000000000000000,
-0.859177034120755, 	0.000000000000000, 	-1.969302377743254, 	0.000000000000000, 	0.777437674525362, 	0.000000000000000, 	-0.124910190157646, 	0.000000000000000,
0.129875493115290, 	0.000000000000000, 	-4.192139262163992, 	0.000000000000000, 	3.023496047962126, 	0.000000000000000, 	1.149775163736637, 	0.000000000000000,
2.038151304801731, 	0.000000000000000, 	3.016122489841263, 	0.000000000000000, 	-4.829481812137012, 	0.000000000000000, 	-1.668436615909279, 	0.000000000000000,
0.958586784636918, 	0.000000000000000, 	1.550652410058678, 	0.000000000000000, 	-1.456305257976716, 	0.000000000000000, 	-0.079588392344731, 	0.000000000000000,
-2.453213599392345, 	0.000000000000000, 	0.296795909127105, 	0.000000000000000, 	-0.253426616607643, 	0.000000000000000, 	1.418937160028195, 	0.000000000000000,
-1.672949529066915, 	0.000000000000000, 	-1.620990298572947, 	0.000000000000000, 	-1.085103073196045, 	0.000000000000000, 	0.738606361195386, 	0.000000000000000,
-2.097831202853255, 	0.000000000000000, 	2.711952282071310, 	0.000000000000000, 	1.498539238246888, 	0.000000000000000, 	1.317457282535915, 	0.000000000000000,
-0.302765938349717, 	0.000000000000000, 	-0.044623707947201, 	0.000000000000000, 	2.337405215062395, 	0.000000000000000, 	-3.980689173859100, 	0.000000000000000,
};
#endif

#ifdef trintaedois
float32_t senoide_input [64] =
{
-0.865129623056441, 	0.000000000000000, 	-2.655020678073846, 	0.000000000000000, 	0.600664612949661, 	0.000000000000000, 	0.080378093886515, 	0.000000000000000,
-2.899160484012034, 	0.000000000000000, 	2.563004262857762, 	0.000000000000000, 	3.078328403304206, 	0.000000000000000, 	0.105906778385130, 	0.000000000000000,
0.048366940168201, 	0.000000000000000, 	-0.145696461188734, 	0.000000000000000, 	-0.023417155362879, 	0.000000000000000, 	2.127729174988954, 	0.000000000000000,
-1.176633086028377, 	0.000000000000000, 	3.690223557991855, 	0.000000000000000, 	-0.622791766173194, 	0.000000000000000, 	0.722837373872203, 	0.000000000000000,
2.739754205367484, 	0.000000000000000, 	-0.062610410524552, 	0.000000000000000, 	-0.891296810967338, 	0.000000000000000, 	-1.845872258871811, 	0.000000000000000};
#endif

#ifdef quinhentosedoze
float32_t senoide_input [1024] =
{
-0.865129623056441, 	0.000000000000000, 	-2.655020678073846, 	0.000000000000000, 	0.600664612949661, 	0.000000000000000, 	0.080378093886515, 	0.000000000000000,
-2.899160484012034, 	0.000000000000000, 	2.563004262857762, 	0.000000000000000, 	3.078328403304206, 	0.000000000000000, 	0.105906778385130, 	0.000000000000000,
0.048366940168201, 	0.000000000000000, 	-0.145696461188734, 	0.000000000000000, 	-0.023417155362879, 	0.000000000000000, 	2.127729174988954, 	0.000000000000000,
-1.176633086028377, 	0.000000000000000, 	3.690223557991855, 	0.000000000000000, 	-0.622791766173194, 	0.000000000000000, 	0.722837373872203, 	0.000000000000000,
2.739754205367484, 	0.000000000000000, 	-0.062610410524552, 	0.000000000000000, 	-0.891296810967338, 	0.000000000000000, 	-1.845872258871811, 	0.000000000000000,
-0.865129623056441, 	0.000000000000000, 	-2.655020678073846, 	0.000000000000000, 	0.600664612949661, 	0.000000000000000, 	0.080378093886515, 	0.000000000000000,
-2.899160484012034, 	0.000000000000000, 	2.563004262857762, 	0.000000000000000, 	3.078328403304206, 	0.000000000000000, 	0.105906778385130, 	0.000000000000000,
0.048366940168201, 	0.000000000000000, 	-0.145696461188734, 	0.000000000000000, 	-0.023417155362879, 	0.000000000000000, 	2.127729174988954, 	0.000000000000000,
-1.176633086028377, 	0.000000000000000, 	3.690223557991855, 	0.000000000000000, 	-0.622791766173194, 	0.000000000000000, 	0.722837373872203, 	0.000000000000000,
2.739754205367484, 	0.000000000000000, 	-0.062610410524552, 	0.000000000000000, 	-0.891296810967338, 	0.000000000000000, 	-1.845872258871811, 	0.000000000000000,
-0.865129623056441, 	0.000000000000000, 	-2.655020678073846, 	0.000000000000000, 	0.600664612949661, 	0.000000000000000, 	0.080378093886515, 	0.000000000000000,
-2.899160484012034, 	0.000000000000000, 	2.563004262857762, 	0.000000000000000, 	3.078328403304206, 	0.000000000000000, 	0.105906778385130, 	0.000000000000000,
0.048366940168201, 	0.000000000000000, 	-0.145696461188734, 	0.000000000000000, 	-0.023417155362879, 	0.000000000000000, 	2.127729174988954, 	0.000000000000000,
-1.176633086028377, 	0.000000000000000, 	3.690223557991855, 	0.000000000000000, 	-0.622791766173194, 	0.000000000000000, 	0.722837373872203, 	0.000000000000000,
2.739754205367484, 	0.000000000000000, 	-0.062610410524552, 	0.000000000000000, 	-0.891296810967338, 	0.000000000000000, 	-1.845872258871811, 	0.000000000000000,
-0.865129623056441, 	0.000000000000000, 	-2.655020678073846, 	0.000000000000000, 	0.600664612949661, 	0.000000000000000, 	0.080378093886515, 	0.000000000000000,
-2.899160484012034, 	0.000000000000000, 	2.563004262857762, 	0.000000000000000, 	3.078328403304206, 	0.000000000000000, 	0.105906778385130, 	0.000000000000000,
0.048366940168201, 	0.000000000000000, 	-0.145696461188734, 	0.000000000000000, 	-0.023417155362879, 	0.000000000000000, 	2.127729174988954, 	0.000000000000000,
-1.176633086028377, 	0.000000000000000, 	3.690223557991855, 	0.000000000000000, 	-0.622791766173194, 	0.000000000000000, 	0.722837373872203, 	0.000000000000000,
2.739754205367484, 	0.000000000000000, 	-0.062610410524552, 	0.000000000000000, 	-0.891296810967338, 	0.000000000000000, 	-1.845872258871811, 	0.000000000000000,
-0.865129623056441, 	0.000000000000000, 	-2.655020678073846, 	0.000000000000000, 	0.600664612949661, 	0.000000000000000, 	0.080378093886515, 	0.000000000000000,
-2.899160484012034, 	0.000000000000000, 	2.563004262857762, 	0.000000000000000, 	3.078328403304206, 	0.000000000000000, 	0.105906778385130, 	0.000000000000000,
0.048366940168201, 	0.000000000000000, 	-0.145696461188734, 	0.000000000000000, 	-0.023417155362879, 	0.000000000000000, 	2.127729174988954, 	0.000000000000000,
-1.176633086028377, 	0.000000000000000, 	3.690223557991855, 	0.000000000000000, 	-0.622791766173194, 	0.000000000000000, 	0.722837373872203, 	0.000000000000000,
2.739754205367484, 	0.000000000000000, 	-0.062610410524552, 	0.000000000000000, 	-0.891296810967338, 	0.000000000000000, 	-1.845872258871811, 	0.000000000000000,
-0.865129623056441, 	0.000000000000000, 	-2.655020678073846, 	0.000000000000000, 	0.600664612949661, 	0.000000000000000, 	0.080378093886515, 	0.000000000000000,
-2.899160484012034, 	0.000000000000000, 	2.563004262857762, 	0.000000000000000, 	3.078328403304206, 	0.000000000000000, 	0.105906778385130, 	0.000000000000000,
0.048366940168201, 	0.000000000000000, 	-0.145696461188734, 	0.000000000000000, 	-0.023417155362879, 	0.000000000000000, 	2.127729174988954, 	0.000000000000000,
-1.176633086028377, 	0.000000000000000, 	3.690223557991855, 	0.000000000000000, 	-0.622791766173194, 	0.000000000000000, 	0.722837373872203, 	0.000000000000000,
2.739754205367484, 	0.000000000000000, 	-0.062610410524552, 	0.000000000000000, 	-0.891296810967338, 	0.000000000000000, 	-1.845872258871811, 	0.000000000000000,
-0.865129623056441, 	0.000000000000000, 	-2.655020678073846, 	0.000000000000000, 	0.600664612949661, 	0.000000000000000, 	0.080378093886515, 	0.000000000000000,
-2.899160484012034, 	0.000000000000000, 	2.563004262857762, 	0.000000000000000, 	3.078328403304206, 	0.000000000000000, 	0.105906778385130, 	0.000000000000000,
0.048366940168201, 	0.000000000000000, 	-0.145696461188734, 	0.000000000000000, 	-0.023417155362879, 	0.000000000000000, 	2.127729174988954, 	0.000000000000000,
-1.176633086028377, 	0.000000000000000, 	3.690223557991855, 	0.000000000000000, 	-0.622791766173194, 	0.000000000000000, 	0.722837373872203, 	0.000000000000000,
2.739754205367484, 	0.000000000000000, 	-0.062610410524552, 	0.000000000000000, 	-0.891296810967338, 	0.000000000000000, 	-1.845872258871811, 	0.000000000000000,
-0.865129623056441, 	0.000000000000000, 	-2.655020678073846, 	0.000000000000000, 	0.600664612949661, 	0.000000000000000, 	0.080378093886515, 	0.000000000000000,
-2.899160484012034, 	0.000000000000000, 	2.563004262857762, 	0.000000000000000, 	3.078328403304206, 	0.000000000000000, 	0.105906778385130, 	0.000000000000000,
0.048366940168201, 	0.000000000000000, 	-0.145696461188734, 	0.000000000000000, 	-0.023417155362879, 	0.000000000000000, 	2.127729174988954, 	0.000000000000000,
-1.176633086028377, 	0.000000000000000, 	3.690223557991855, 	0.000000000000000, 	-0.622791766173194, 	0.000000000000000, 	0.722837373872203, 	0.000000000000000,
2.739754205367484, 	0.000000000000000, 	-0.062610410524552, 	0.000000000000000, 	-0.891296810967338, 	0.000000000000000, 	-1.845872258871811, 	0.000000000000000,
-0.865129623056441, 	0.000000000000000, 	-2.655020678073846, 	0.000000000000000, 	0.600664612949661, 	0.000000000000000, 	0.080378093886515, 	0.000000000000000,
-2.899160484012034, 	0.000000000000000, 	2.563004262857762, 	0.000000000000000, 	3.078328403304206, 	0.000000000000000, 	0.105906778385130, 	0.000000000000000,
0.048366940168201, 	0.000000000000000, 	-0.145696461188734, 	0.000000000000000, 	-0.023417155362879, 	0.000000000000000, 	2.127729174988954, 	0.000000000000000,
-1.176633086028377, 	0.000000000000000, 	3.690223557991855, 	0.000000000000000, 	-0.622791766173194, 	0.000000000000000, 	0.722837373872203, 	0.000000000000000,
2.739754205367484, 	0.000000000000000, 	-0.062610410524552, 	0.000000000000000, 	-0.891296810967338, 	0.000000000000000, 	-1.845872258871811, 	0.000000000000000,
-0.865129623056441, 	0.000000000000000, 	-2.655020678073846, 	0.000000000000000, 	0.600664612949661, 	0.000000000000000, 	0.080378093886515, 	0.000000000000000,
-2.899160484012034, 	0.000000000000000, 	2.563004262857762, 	0.000000000000000, 	3.078328403304206, 	0.000000000000000, 	0.105906778385130, 	0.000000000000000,
0.048366940168201, 	0.000000000000000, 	-0.145696461188734, 	0.000000000000000, 	-0.023417155362879, 	0.000000000000000, 	2.127729174988954, 	0.000000000000000,
-1.176633086028377, 	0.000000000000000, 	3.690223557991855, 	0.000000000000000, 	-0.622791766173194, 	0.000000000000000, 	0.722837373872203, 	0.000000000000000,
2.739754205367484, 	0.000000000000000, 	-0.062610410524552, 	0.000000000000000, 	-0.891296810967338, 	0.000000000000000, 	-1.845872258871811, 	0.000000000000000,
-0.865129623056441, 	0.000000000000000, 	-2.655020678073846, 	0.000000000000000, 	0.600664612949661, 	0.000000000000000, 	0.080378093886515, 	0.000000000000000,
-2.899160484012034, 	0.000000000000000, 	2.563004262857762, 	0.000000000000000, 	3.078328403304206, 	0.000000000000000, 	0.105906778385130, 	0.000000000000000,
0.048366940168201, 	0.000000000000000, 	-0.145696461188734, 	0.000000000000000, 	-0.023417155362879, 	0.000000000000000, 	2.127729174988954, 	0.000000000000000,
-1.176633086028377, 	0.000000000000000, 	3.690223557991855, 	0.000000000000000, 	-0.622791766173194, 	0.000000000000000, 	0.722837373872203, 	0.000000000000000,
2.739754205367484, 	0.000000000000000, 	-0.062610410524552, 	0.000000000000000, 	-0.891296810967338, 	0.000000000000000, 	-1.845872258871811, 	0.000000000000000,
-0.865129623056441, 	0.000000000000000, 	-2.655020678073846, 	0.000000000000000, 	0.600664612949661, 	0.000000000000000, 	0.080378093886515, 	0.000000000000000,
-2.899160484012034, 	0.000000000000000, 	2.563004262857762, 	0.000000000000000, 	3.078328403304206, 	0.000000000000000, 	0.105906778385130, 	0.000000000000000,
0.048366940168201, 	0.000000000000000, 	-0.145696461188734, 	0.000000000000000, 	-0.023417155362879, 	0.000000000000000, 	2.127729174988954, 	0.000000000000000,
-1.176633086028377, 	0.000000000000000, 	3.690223557991855, 	0.000000000000000, 	-0.622791766173194, 	0.000000000000000, 	0.722837373872203, 	0.000000000000000,
2.739754205367484, 	0.000000000000000, 	-0.062610410524552, 	0.000000000000000, 	-0.891296810967338, 	0.000000000000000, 	-1.845872258871811, 	0.000000000000000,
-0.865129623056441, 	0.000000000000000, 	-2.655020678073846, 	0.000000000000000, 	0.600664612949661, 	0.000000000000000, 	0.080378093886515, 	0.000000000000000,
-2.899160484012034, 	0.000000000000000, 	2.563004262857762, 	0.000000000000000, 	3.078328403304206, 	0.000000000000000, 	0.105906778385130, 	0.000000000000000,
0.048366940168201, 	0.000000000000000, 	-0.145696461188734, 	0.000000000000000, 	-0.023417155362879, 	0.000000000000000, 	2.127729174988954, 	0.000000000000000,
-1.176633086028377, 	0.000000000000000, 	3.690223557991855, 	0.000000000000000, 	-0.622791766173194, 	0.000000000000000, 	0.722837373872203, 	0.000000000000000,
2.739754205367484, 	0.000000000000000, 	-0.062610410524552, 	0.000000000000000, 	-0.891296810967338, 	0.000000000000000, 	-1.845872258871811, 	0.000000000000000,
-0.865129623056441, 	0.000000000000000, 	-2.655020678073846, 	0.000000000000000, 	0.600664612949661, 	0.000000000000000, 	0.080378093886515, 	0.000000000000000,
-2.899160484012034, 	0.000000000000000, 	2.563004262857762, 	0.000000000000000, 	3.078328403304206, 	0.000000000000000, 	0.105906778385130, 	0.000000000000000,
0.048366940168201, 	0.000000000000000, 	-0.145696461188734, 	0.000000000000000, 	-0.023417155362879, 	0.000000000000000, 	2.127729174988954, 	0.000000000000000,
-1.176633086028377, 	0.000000000000000, 	3.690223557991855, 	0.000000000000000, 	-0.622791766173194, 	0.000000000000000, 	0.722837373872203, 	0.000000000000000,
2.739754205367484, 	0.000000000000000, 	-0.062610410524552, 	0.000000000000000, 	-0.891296810967338, 	0.000000000000000, 	-1.845872258871811, 	0.000000000000000,
-0.865129623056441, 	0.000000000000000, 	-2.655020678073846, 	0.000000000000000, 	0.600664612949661, 	0.000000000000000, 	0.080378093886515, 	0.000000000000000,
-2.899160484012034, 	0.000000000000000, 	2.563004262857762, 	0.000000000000000, 	3.078328403304206, 	0.000000000000000, 	0.105906778385130, 	0.000000000000000,
0.048366940168201, 	0.000000000000000, 	-0.145696461188734, 	0.000000000000000, 	-0.023417155362879, 	0.000000000000000, 	2.127729174988954, 	0.000000000000000,
-1.176633086028377, 	0.000000000000000, 	3.690223557991855, 	0.000000000000000, 	-0.622791766173194, 	0.000000000000000, 	0.722837373872203, 	0.000000000000000,
2.739754205367484, 	0.000000000000000, 	-0.062610410524552, 	0.000000000000000, 	-0.891296810967338, 	0.000000000000000, 	-1.845872258871811, 	0.000000000000000,
-0.865129623056441, 	0.000000000000000, 	-2.655020678073846, 	0.000000000000000, 	0.600664612949661, 	0.000000000000000, 	0.080378093886515, 	0.000000000000000,
-2.899160484012034, 	0.000000000000000, 	2.563004262857762, 	0.000000000000000, 	3.078328403304206, 	0.000000000000000, 	0.105906778385130, 	0.000000000000000,
0.048366940168201, 	0.000000000000000, 	-0.145696461188734, 	0.000000000000000, 	-0.023417155362879, 	0.000000000000000, 	2.127729174988954, 	0.000000000000000,
-1.176633086028377, 	0.000000000000000, 	3.690223557991855, 	0.000000000000000, 	-0.622791766173194, 	0.000000000000000, 	0.722837373872203, 	0.000000000000000,
2.739754205367484, 	0.000000000000000, 	-0.062610410524552, 	0.000000000000000, 	-0.891296810967338, 	0.000000000000000, 	-1.845872258871811, 	0.000000000000000
};
#endif

/*
 * Printf in Serial 2 (Virtual serial of Nucleo-64 with STLINK)
 */

int __io_putchar(int ch)
{
 uint8_t c[1];
 c[0] = ch & 0x00FF;

 while(HAL_UART_GetState(&huart2) != HAL_UART_STATE_READY);//Wait until UART is ready
 HAL_UART_Transmit(&huart2, &(*c), 1, 10);
 return ch;
}

int _write(int file,char *ptr, int len)
{
 int DataIdx;
 for(DataIdx= 0; DataIdx< len; DataIdx++){
	 __io_putchar(*ptr++);
	 }
return len;
}

/* USER CODE END 0 */

int main(void)
{

  /* MCU Configuration----------------------------------------------------------*/

  /* Reset of all peripherals, Initializes the Flash interface and the Systick. */
  HAL_Init();

  /* Configure the system clock */
  SystemClock_Config();

  /* Initialize all configured peripherals */
  MX_GPIO_Init();
  MX_USART2_UART_Init();
  MX_TIM2_Init();
  /* USER CODE BEGIN 2 */

  HAL_TIM_Base_Start_IT(&htim2);//Start 1s timer

#ifdef milvintequatro
  uint32_t ifftFlag = 0;
  uint32_t doBitReverse = 1;
#endif

#ifdef quinhentosedoze
  uint32_t ifftFlag = 0;
  uint32_t doBitReverse = 1;
#endif

#ifdef trintaedois
  uint32_t ifftFlag = 0;
  uint32_t doBitReverse = 1;
#endif

  /* USER CODE END 2 */

  /* Infinite loop */
  /* USER CODE BEGIN WHILE */
  while (1)
  {
	  /*
	   * FFT Forever
	   */
#ifdef trintaedois
	  arm_cfft_f32(&arm_cfft_sR_f32_len32, senoide_input, ifftFlag, doBitReverse);
	  FFT_result++;
#endif

#ifdef quinhentosedoze
	  arm_cfft_f32(&arm_cfft_sR_f32_len512, senoide_input, ifftFlag, doBitReverse);
	  FFT_result++;
#endif

#ifdef milvintequatro
	  arm_cfft_f32(&arm_cfft_sR_f32_len1024, testInput_f32_10khz, ifftFlag, doBitReverse);
	  FFT_result++;
#endif

  /* USER CODE END WHILE */

  }

}

void HAL_TIM_PeriodElapsedCallback(TIM_HandleTypeDef *htim)
{
  /* USER CODE BEGIN Callback 0 */

  /* USER CODE BEGIN Callback 1 */

  if (htim->Instance == TIM2) {

	  printf("FFT/s: %i \r\n", (FFT_result-FFT_old));
	  FFT_old = FFT_result;
  }

  /* USER CODE END Callback 1 */
}

void SystemClock_Config(void)
{

  RCC_OscInitTypeDef RCC_OscInitStruct;
  RCC_ClkInitTypeDef RCC_ClkInitStruct;

    /**Initializes the CPU, AHB and APB busses clocks
    */
  RCC_OscInitStruct.OscillatorType = RCC_OSCILLATORTYPE_HSI;
  RCC_OscInitStruct.HSIState = RCC_HSI_ON;
  RCC_OscInitStruct.HSICalibrationValue = 16;
  RCC_OscInitStruct.PLL.PLLState = RCC_PLL_ON;
  RCC_OscInitStruct.PLL.PLLSource = RCC_PLLSOURCE_HSI_DIV2;
  RCC_OscInitStruct.PLL.PLLMUL = RCC_PLL_MUL16;
  if (HAL_RCC_OscConfig(&RCC_OscInitStruct) != HAL_OK)
  {
    _Error_Handler(__FILE__, __LINE__);
  }

    /**Initializes the CPU, AHB and APB busses clocks
    */
  RCC_ClkInitStruct.ClockType = RCC_CLOCKTYPE_HCLK|RCC_CLOCKTYPE_SYSCLK
                              |RCC_CLOCKTYPE_PCLK1|RCC_CLOCKTYPE_PCLK2;
  RCC_ClkInitStruct.SYSCLKSource = RCC_SYSCLKSOURCE_PLLCLK;
  RCC_ClkInitStruct.AHBCLKDivider = RCC_SYSCLK_DIV1;
  RCC_ClkInitStruct.APB1CLKDivider = RCC_HCLK_DIV2;
  RCC_ClkInitStruct.APB2CLKDivider = RCC_HCLK_DIV1;

  if (HAL_RCC_ClockConfig(&RCC_ClkInitStruct, FLASH_LATENCY_2) != HAL_OK)
  {
    _Error_Handler(__FILE__, __LINE__);
  }

    /**Configure the Systick interrupt time
    */
  HAL_SYSTICK_Config(HAL_RCC_GetHCLKFreq()/1000);

    /**Configure the Systick
    */
  HAL_SYSTICK_CLKSourceConfig(SYSTICK_CLKSOURCE_HCLK);

  /* SysTick_IRQn interrupt configuration */
  HAL_NVIC_SetPriority(SysTick_IRQn, 0, 0);
}

void _Error_Handler(char *file, int line)
{
  while(1)
  {
  }
}

/************************ (C) COPYRIGHT STMicroelectronics *****END OF FILE****/
